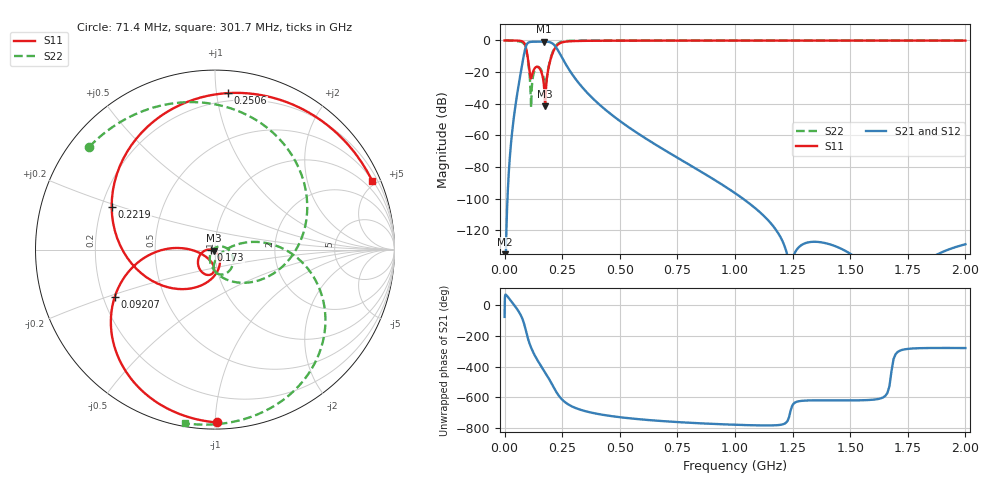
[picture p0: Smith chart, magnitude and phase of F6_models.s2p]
! Created with skrf 2.2.0 (http://scikit-rf.org).
# MHz S RI R 50.0
! Port[1] = P1
! Port[2] = P2
!freq ReS11 ImS11 ReS21 ImS21 ReS12 ImS12 ReS22 ImS22
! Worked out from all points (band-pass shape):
!   2001 points, 50 kHz to 2 GHz, reference 50 ohm
!   highest |S21| = -0.72 dB at 169.3 MHz (marker M1); lowest = -198.9 dB at 1.233 MHz (marker M2)
!   |S21| within 3 dB of the highest: 92.76 MHz to 220.3 MHz (127.5 MHz wide, 81.5 % of centre)
!   lowest |S11| = -41.6 dB at 175.7 MHz (marker M3), VSWR 1.02, Z = 49.5 - j0.625 ohm
!   |S11| at or under -10 dB: 99.76 MHz to 203.6 MHz (103.9 MHz wide, 68.5 % of centre)
!   |S22| runs from -42.3 to 0.0 dB; largest |S21 - S12| = 1.6e-15
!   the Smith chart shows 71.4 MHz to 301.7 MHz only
!   S11 on the Smith chart (normalised r, x): 71.4 MHz: 0.04, -1.01; 92.07 MHz: 0.25, -0.21; 173 MHz: 0.95, -0.00; 221.9 MHz: 0.24, +0.19; 250.6 MHz: 0.14, +1.08; 301.7 MHz: 0.54, +4.74
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0.05  1 -0.000848  2.11e-16 -1.11e-15  2.11e-16 -1.11e-15  1 -0.00302
0.2934364  1 -0.00498  2.55e-13 -1.58e-13  2.55e-13 -1.58e-13  0.9998 -0.0177
1.233369  0.9998 -0.0209  8.44e-11 7.49e-11  8.44e-11 7.49e-11  0.9971 -0.0743
1.712999  0.9995 -0.0291  3.3e-10 4.29e-10  3.3e-10 4.29e-10  0.9945 -0.1031
10  0.9853 -0.1694  1.81e-06 2.85e-06  1.81e-06 2.85e-06  0.8254 -0.5615
20.01866  0.9403 -0.3376  8.39e-05 6.77e-05  8.39e-05 6.77e-05  0.3915 -0.913
36.81742  0.7882 -0.6095  0.00234 0.000261  0.00234 0.000261  -0.4292 -0.8792
58.68728  0.3958 -0.9026  0.0242 -0.0193  0.0242 -0.0193  -0.9434 -0.0532
71.39736  0.0112 -0.9629  0.0344 -0.1046  0.0344 -0.1046  -0.7005 0.5725
92.07285  -0.5589 -0.2642  -0.6103 -0.1549  -0.6103 -0.1549  0.5133 0.2068
116.2457  -0.0267 -0.0616  0.1868 0.8857  0.1868 0.8857  0.00906 0.0137
140.674  -0.0518 -0.1387  0.9082 0.0961  0.9082 0.0961  0.0746 -0.1235
169.3363  -0.0467 -0.00179  0.4168 -0.8211  0.4168 -0.8211  -0.000883 -0.0673
172.9634  -0.0232 -0.000316  0.2901 -0.8736  0.2901 -0.8736  0.0093 -0.0484
175.7346  -0.00543 -0.00632  0.1882 -0.9002  0.1882 -0.9002  0.0205 -0.0339
221.872  -0.5757 0.2376  -0.5996 0.1915  -0.5996 0.1915  0.6036 -0.2871
250.6261  0.0738 0.8721  -0.0709 0.2669  -0.0709 0.2669  0.3803 -0.8372
301.691  0.8762 0.3818  0.0394 0.058  0.0394 0.058  -0.1676 -0.9683
342.5997  0.9688 -0.0601  0.0245 0.017  0.0245 0.017  -0.4053 -0.9034
517.9256  0.4179 -0.8932  0.00227 -0.000426  0.00227 -0.000426  -0.791 -0.6051
825.5778  -0.4594 -0.8765  6.57e-05 -6.63e-05  6.57e-05 -6.63e-05  -0.9432 -0.3236
2000  -0.9231 0.3621  6.67e-08 3.57e-07  6.67e-08 3.57e-07  -0.995 0.0741
